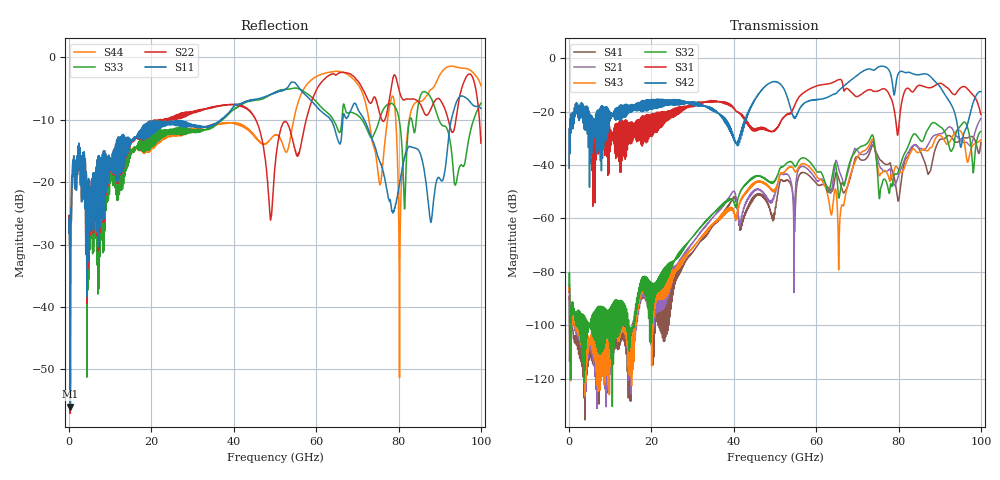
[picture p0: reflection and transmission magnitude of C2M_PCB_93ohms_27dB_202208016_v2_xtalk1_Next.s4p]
! Info: Touchstone file created by Circ.  Input file=Intel_C2M_200G_11p5in_202208016_staggered.circ
# Hz S RI R 50
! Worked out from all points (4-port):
!   10000 points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, 10 MHz to 100 GHz, reference 50 ohm
!   strongest paths, dB at 10 MHz, 25.01 GHz, 50.01 GHz, 75.01 GHz, 100 GHz:
!     S42: -41.1, -16.9, -8.7, -3.4, -12.5
!     S31: -41.1, -21.3, -27.0, -12.3, -21.0
!     S32: -85.1, -77.7, -45.7, -45.5, -27.4
!     S43: -86.4, -81.8, -49.4, -41.5, -30.5
!     S21: -86.8, -80.5, -50.4, -38.3, -22.6
!     S41: -89.1, -82.0, -56.9, -36.6, -31.6
!   lowest |S11| = -56.0 dB at 300 MHz (marker M1), VSWR 1.00, Z = 50.1 + j0.136 ohm
!   |S11| at or under -10 dB: start of sweep to 36.91 GHz; 63.53 GHz to 66.47 GHz (2.941 GHz wide, 4.52 % of centre); 71.63 GHz to 92.82 GHz (21.2 GHz wide, 25.8 % of centre)
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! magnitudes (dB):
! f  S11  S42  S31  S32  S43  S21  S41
! 10 MHz  -28.2  -41.1  -41.1  -85.1  -86.4  -86.8  -89.1
! 300 MHz  -56.0  -22.6  -22.6  -94.2  -100.3  -100.5  -101.0
! 65.64 GHz  -13.8  -11.9  -7.9  -51.7  -64.5  -42.4  -45.8
! 73.47 GHz  -13.0  -4.2  -12.0  -28.9  -30.6  -31.7  -33.2
! 76.03 GHz  -17.7  -3.0  -11.4  -46.8  -42.8  -41.7  -38.7
! 95.19 GHz  -6.2  -33.2  -10.9  -25.0  -27.5  -31.0  -30.2
! 100 GHz  -8.2  -12.5  -21.0  -27.4  -30.5  -22.6  -31.6
